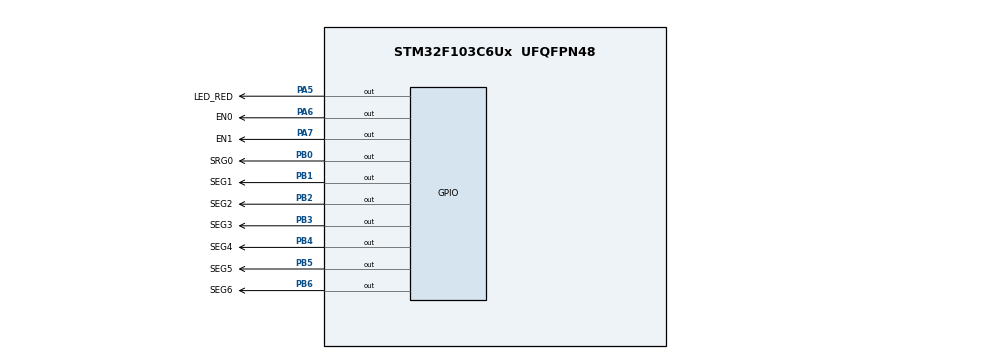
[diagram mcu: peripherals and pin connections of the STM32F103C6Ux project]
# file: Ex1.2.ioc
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Mcu.Family=STM32F1
Mcu.Name=STM32F103C6Ux
Mcu.Package=UFQFPN48
NVIC.PriorityGroup=NVIC_PRIORITYGROUP_4
NVIC.TIM2_IRQn=true\:0\:0\:false\:false\:true\:true\:true
PA5.GPIO_Label=LED_RED
PA5.Signal=GPIO_Output
PA6.GPIO_Label=EN0
PA6.Signal=GPIO_Output
PA7.GPIO_Label=EN1
PA7.Signal=GPIO_Output
PB0.GPIO_Label=SRG0
PB0.Signal=GPIO_Output
PB1.GPIO_Label=SEG1
PB1.Signal=GPIO_Output
PB2.GPIO_Label=SEG2
PB2.Signal=GPIO_Output
PB3.GPIO_Label=SEG3
PB3.Signal=GPIO_Output
PB4.GPIO_Label=SEG4
PB4.Signal=GPIO_Output
PB5.GPIO_Label=SEG5
PB5.Signal=GPIO_Output
PB6.GPIO_Label=SEG6
PB6.Signal=GPIO_Output
ProjectManager.HeapSize=0x200
ProjectManager.StackSize=0x400
ProjectManager.TargetToolchain=STM32CubeIDE
RCC.APB1Freq_Value=8000000
RCC.APB2Freq_Value=8000000
TIM2.Period=9
TIM2.Prescaler=7999
VP_SYS_VS_ND.Mode=No_Debug
VP_TIM2_VS_ClockSourceINT.Mode=Internal
board=custom

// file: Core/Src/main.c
/* USER CODE BEGIN Header */
/**
  ******************************************************************************
  * @file           : main.c
  * @brief          : Main program body
  ******************************************************************************
  * @attention
  *
  * <h2><center>&copy; Copyright (c) 2022 STMicroelectronics.
  * All rights reserved.</center></h2>
  *
  * This software component is licensed by ST under BSD 3-Clause license,
  * the "License"; You may not use this file except in compliance with the
  * License. You may obtain a copy of the License at:
  *                        opensource.org/licenses/BSD-3-Clause
  *
  ******************************************************************************
  */
/* USER CODE END Header */
#include "main.h"

/* USER CODE BEGIN Includes */
#include "software_timer.h"
/* USER CODE END Includes */

TIM_HandleTypeDef htim2;

void SystemClock_Config(void);
static void MX_GPIO_Init(void);
static void MX_TIM2_Init(void);

/* USER CODE BEGIN 0 */
uint8_t segmentNumber[10] = {0xc0,0xf9,0xa4,0xb0,0x99,0x92,0x82,0xf8,0x80,0x90};
void display7SEG(int num)
{
	uint8_t number = segmentNumber[num];
	HAL_GPIO_WritePin(GPIOB, GPIO_PIN_0, ((number>>0)&0x01));
	HAL_GPIO_WritePin(GPIOB, GPIO_PIN_1, ((number>>1)&0x01));
	HAL_GPIO_WritePin(GPIOB, GPIO_PIN_2, ((number>>2)&0x01));
	HAL_GPIO_WritePin(GPIOB, GPIO_PIN_3, ((number>>3)&0x01));
	HAL_GPIO_WritePin(GPIOB, GPIO_PIN_4, ((number>>4)&0x01));
	HAL_GPIO_WritePin(GPIOB, GPIO_PIN_5, ((number>>5)&0x01));
	HAL_GPIO_WritePin(GPIOB, GPIO_PIN_6, ((number>>6)&0x01));

}
/* USER CODE END 0 */

int main(void)
{

  /* MCU Configuration--------------------------------------------------------*/

  /* Reset of all peripherals, Initializes the Flash interface and the Systick. */
  HAL_Init();

  /* Configure the system clock */
  SystemClock_Config();

  /* Initialize all configured peripherals */
  MX_GPIO_Init();
  MX_TIM2_Init();
  /* USER CODE BEGIN 2 */
  HAL_TIM_Base_Start_IT(&htim2);

  /* USER CODE END 2 */

  /* Infinite loop */
  /* USER CODE BEGIN WHILE */
  setTimer1(3);
  int status =0;
  while (1)
  {
	    /* USER CODE END WHILE */
		  if (timer1_flag ==1){
			  setTimer1(50);
			  switch (status){
			  case 0:
				  status++;
				  HAL_GPIO_WritePin(EN0_GPIO_Port, EN0_Pin, 0);
				  HAL_GPIO_WritePin(EN1_GPIO_Port, EN1_Pin, 1);
				  HAL_GPIO_TogglePin(LED_RED_GPIO_Port, LED_RED_Pin);
				  display7SEG(1);
				  break;
			  case 1:
				  status =0;
				  HAL_GPIO_WritePin(EN0_GPIO_Port, EN0_Pin, 1);
				  HAL_GPIO_WritePin(EN1_GPIO_Port, EN1_Pin, 0);
				  HAL_GPIO_TogglePin(LED_RED_GPIO_Port, LED_RED_Pin);
				  display7SEG(2);
				  break;
			  default:
				  break;
			  }
		  }

  }
}

void SystemClock_Config(void)
{
  RCC_OscInitTypeDef RCC_OscInitStruct = {0};
  RCC_ClkInitTypeDef RCC_ClkInitStruct = {0};

  /** Initializes the RCC Oscillators according to the specified parameters
  * in the RCC_OscInitTypeDef structure.
  */
  RCC_OscInitStruct.OscillatorType = RCC_OSCILLATORTYPE_HSI;
  RCC_OscInitStruct.HSIState = RCC_HSI_ON;
  RCC_OscInitStruct.HSICalibrationValue = RCC_HSICALIBRATION_DEFAULT;
  RCC_OscInitStruct.PLL.PLLState = RCC_PLL_NONE;
  if (HAL_RCC_OscConfig(&RCC_OscInitStruct) != HAL_OK)
  {
    Error_Handler();
  }
  /** Initializes the CPU, AHB and APB buses clocks
  */
  RCC_ClkInitStruct.ClockType = RCC_CLOCKTYPE_HCLK|RCC_CLOCKTYPE_SYSCLK
                              |RCC_CLOCKTYPE_PCLK1|RCC_CLOCKTYPE_PCLK2;
  RCC_ClkInitStruct.SYSCLKSource = RCC_SYSCLKSOURCE_HSI;
  RCC_ClkInitStruct.AHBCLKDivider = RCC_SYSCLK_DIV1;
  RCC_ClkInitStruct.APB1CLKDivider = RCC_HCLK_DIV1;
  RCC_ClkInitStruct.APB2CLKDivider = RCC_HCLK_DIV1;

  if (HAL_RCC_ClockConfig(&RCC_ClkInitStruct, FLASH_LATENCY_0) != HAL_OK)
  {
    Error_Handler();
  }
}

static void MX_TIM2_Init(void)
{

  TIM_ClockConfigTypeDef sClockSourceConfig = {0};
  TIM_MasterConfigTypeDef sMasterConfig = {0};

  htim2.Instance = TIM2;
  htim2.Init.Prescaler = 7999;
  htim2.Init.CounterMode = TIM_COUNTERMODE_UP;
  htim2.Init.Period = 9;
  htim2.Init.ClockDivision = TIM_CLOCKDIVISION_DIV1;
  htim2.Init.AutoReloadPreload = TIM_AUTORELOAD_PRELOAD_DISABLE;
  if (HAL_TIM_Base_Init(&htim2) != HAL_OK)
  {
    Error_Handler();
  }
  sClockSourceConfig.ClockSource = TIM_CLOCKSOURCE_INTERNAL;
  if (HAL_TIM_ConfigClockSource(&htim2, &sClockSourceConfig) != HAL_OK)
  {
    Error_Handler();
  }
  sMasterConfig.MasterOutputTrigger = TIM_TRGO_RESET;
  sMasterConfig.MasterSlaveMode = TIM_MASTERSLAVEMODE_DISABLE;
  if (HAL_TIMEx_MasterConfigSynchronization(&htim2, &sMasterConfig) != HAL_OK)
  {
    Error_Handler();
  }

}

static void MX_GPIO_Init(void)
{
  GPIO_InitTypeDef GPIO_InitStruct = {0};

  /* GPIO Ports Clock Enable */
  __HAL_RCC_GPIOA_CLK_ENABLE();
  __HAL_RCC_GPIOB_CLK_ENABLE();

  /*Configure GPIO pin Output Level */
  HAL_GPIO_WritePin(GPIOA, LED_RED_Pin|EN0_Pin|EN1_Pin, GPIO_PIN_RESET);

  /*Configure GPIO pin Output Level */
  HAL_GPIO_WritePin(GPIOB, SRG0_Pin|SEG1_Pin|SEG2_Pin|SEG3_Pin
                          |SEG4_Pin|SEG5_Pin|SEG6_Pin, GPIO_PIN_RESET);

  /*Configure GPIO pins : LED_RED_Pin EN0_Pin EN1_Pin */
  GPIO_InitStruct.Pin = LED_RED_Pin|EN0_Pin|EN1_Pin;
  GPIO_InitStruct.Mode = GPIO_MODE_OUTPUT_PP;
  GPIO_InitStruct.Pull = GPIO_NOPULL;
  GPIO_InitStruct.Speed = GPIO_SPEED_FREQ_LOW;
  HAL_GPIO_Init(GPIOA, &GPIO_InitStruct);

  /*Configure GPIO pins : SRG0_Pin SEG1_Pin SEG2_Pin SEG3_Pin
                           SEG4_Pin SEG5_Pin SEG6_Pin */
  GPIO_InitStruct.Pin = SRG0_Pin|SEG1_Pin|SEG2_Pin|SEG3_Pin
                          |SEG4_Pin|SEG5_Pin|SEG6_Pin;
  GPIO_InitStruct.Mode = GPIO_MODE_OUTPUT_PP;
  GPIO_InitStruct.Pull = GPIO_NOPULL;
  GPIO_InitStruct.Speed = GPIO_SPEED_FREQ_LOW;
  HAL_GPIO_Init(GPIOB, &GPIO_InitStruct);

}

/* USER CODE BEGIN 4 */
void HAL_TIM_PeriodElapsedCallback(TIM_HandleTypeDef *htim){
	timerRun();
}
/* USER CODE END 4 */

void Error_Handler(void)
{
  __disable_irq();
  while (1)
  {
  }
}

/************************ (C) COPYRIGHT STMicroelectronics *****END OF FILE****/
